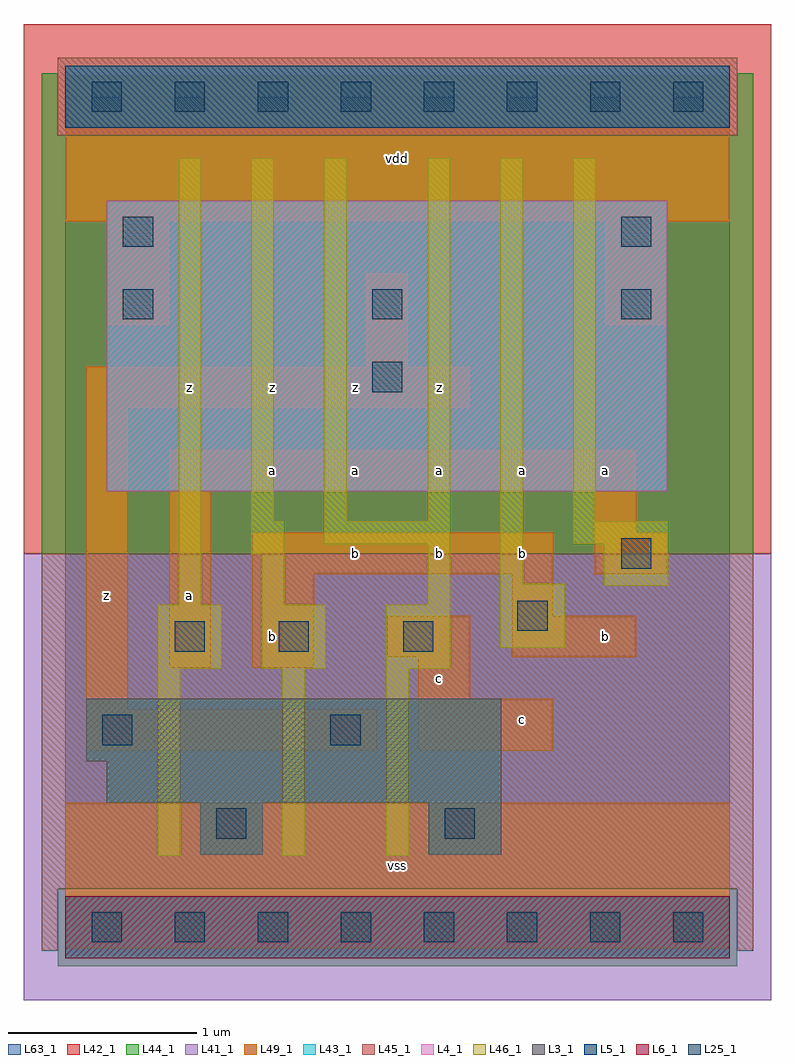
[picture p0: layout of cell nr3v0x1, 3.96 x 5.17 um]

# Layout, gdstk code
import gdstk
lib = gdstk.Library(unit=1e-6, precision=1e-09)
def R(c, l, rs):  # rectangles x0, y0, x1, y1
    for r in rs: c.add(gdstk.rectangle(r[:2], r[2:], *l))
def A(c, l, x, y, w, h, nx, ny, dx, dy):  # array of equal rectangles
    R(c, l, [(x+i*dx, y+j*dy, x+i*dx+w, y+j*dy+h) for i in range(nx) for j in range(ny)])
L3_1 = (3, 1)
L4_1 = (4, 1)
L5_1 = (5, 1)
L6_1 = (6, 1)
L25_1 = (25, 1)
L41_1 = (41, 1)
L42_1 = (42, 1)
L43_1 = (43, 1)
L44_1 = (44, 1)
L45_1 = (45, 1)
L46_1 = (46, 1)
L49_1 = (49, 1)
L63_1 = (63, 1)

nr3v0x1 = lib.new_cell('nr3v0x1')
R(nr3v0x1, L3_1, [(0.715,0.385,1.045,0.66), (1.925,0.385,2.31,0.66), (0.22,0.66,2.31,0.88), (0.11,0.88,2.31,1.21)])
R(nr3v0x1, L4_1, [(0.22,2.31,3.19,3.85)])
R(nr3v0x1, L5_1, [(0,4.235,3.52,4.565)])
R(nr3v0x1, L6_1, [(0,-0.165,3.52,0.165)])
A(nr3v0x1, L25_1, 0.14, -0.08, 0.16, 0.16, 8, 2, 0.44, 4.4)
A(nr3v0x1, L25_1, 0.305, 3.22, 0.16, 0.16, 3, 1, 1.32, 0)
R(nr3v0x1, L25_1, [(0.8,0.47,0.96,0.63), (2.01,0.47,2.17,0.63), (0.195,0.965,0.355,1.125), (1.405,0.965,1.565,1.125), (0.58,1.46,0.74,1.62), (1.13,1.46,1.29,1.62), (1.79,1.46,1.95,1.62), (2.395,1.57,2.555,1.73), (2.945,1.9,3.105,2.06), (1.625,2.835,1.785,2.995), (0.305,3.605,0.465,3.765), (2.945,3.605,3.105,3.765)])
R(nr3v0x1, L41_1, [(-0.22,-0.385,3.74,1.98)])
R(nr3v0x1, L42_1, [(-0.22,1.98,3.74,4.785)])
R(nr3v0x1, L43_1, [(0,-0.165,3.52,0.165), (0.715,0.385,1.045,0.66), (1.925,0.385,2.31,0.66), (0.22,0.66,2.31,0.88), (0.11,0.88,2.31,1.21), (0.22,2.31,3.19,3.85), (0,4.235,3.52,4.565)])
R(nr3v0x1, L44_1, [(-0.04,-0.205,3.56,0.205), (-0.125,1.98,3.645,4.195), (-0.125,4.195,-0.04,4.525), (3.56,4.195,3.645,4.525)])
R(nr3v0x1, L45_1, [(-0.125,-0.125,-0.04,0.205), (3.56,-0.125,3.645,0.205), (-0.125,0.205,3.645,1.98), (-0.04,4.195,3.56,4.605)])
R(nr3v0x1, L46_1, [(0.49,0.38,0.61,1.37), (1.15,0.38,1.27,1.37), (1.7,0.38,1.82,1.37), (0.49,1.37,0.83,1.71), (1.04,1.37,1.38,1.71), (1.7,1.37,2.04,1.71), (2.305,1.48,2.645,1.82), (0.6,1.71,0.72,4.075), (1.04,1.71,1.16,1.975), (1.92,1.71,2.04,2.03), (2.855,1.81,3.195,2.03), (2.305,1.82,2.425,4.075), (0.985,1.975,1.16,2.15), (1.37,2.03,2.04,2.15), (2.69,2.03,3.195,2.15), (0.985,2.15,1.105,4.075), (1.37,2.15,1.49,4.075), (1.92,2.15,2.04,4.075), (2.69,2.15,2.81,4.075)])
R(nr3v0x1, L49_1, [(0,-0.11,3.52,0.66), (0.11,0.935,1.65,1.155), (1.87,0.935,2.585,1.21), (0.11,1.155,0.33,2.75), (1.87,1.21,2.145,1.43), (0.55,1.375,0.77,2.31), (0.99,1.375,1.32,1.87), (1.705,1.43,2.145,1.65), (2.365,1.43,3.025,1.65), (2.365,1.65,2.585,1.87), (0.99,1.87,2.585,2.09), (2.805,1.87,3.19,2.09), (2.805,2.09,3.025,2.31), (0.55,2.31,3.025,2.53), (0.11,2.75,2.145,2.97), (1.595,2.97,1.815,3.465), (0.22,3.19,0.55,3.74), (2.86,3.19,3.19,3.74), (0,3.74,3.52,4.51)])
R(nr3v0x1, L63_1, [(0,0,3.52,4.4)])
nr3v0x1.add(gdstk.Label('z', (0.22,1.76), layer=49, texttype=1))
nr3v0x1.add(gdstk.Label('b', (1.1,1.54), layer=49, texttype=1))
nr3v0x1.add(gdstk.Label('a', (0.66,1.76), layer=49, texttype=1))
nr3v0x1.add(gdstk.Label('a', (1.1,2.42), layer=49, texttype=1))
nr3v0x1.add(gdstk.Label('z', (1.1,2.86), layer=49, texttype=1))
nr3v0x1.add(gdstk.Label('z', (0.66,2.86), layer=49, texttype=1))
nr3v0x1.add(gdstk.Label('vss', (1.76,0.33), layer=49, texttype=1))
nr3v0x1.add(gdstk.Label('c', (1.98,1.32), layer=49, texttype=1))
nr3v0x1.add(gdstk.Label('b', (1.54,1.98), layer=49, texttype=1))
nr3v0x1.add(gdstk.Label('a', (1.54,2.42), layer=49, texttype=1))
nr3v0x1.add(gdstk.Label('b', (1.98,1.98), layer=49, texttype=1))
nr3v0x1.add(gdstk.Label('a', (1.98,2.42), layer=49, texttype=1))
nr3v0x1.add(gdstk.Label('z', (1.98,2.86), layer=49, texttype=1))
nr3v0x1.add(gdstk.Label('z', (1.54,2.86), layer=49, texttype=1))
nr3v0x1.add(gdstk.Label('vdd', (1.76,4.07), layer=49, texttype=1))
nr3v0x1.add(gdstk.Label('c', (2.42,1.1), layer=49, texttype=1))
nr3v0x1.add(gdstk.Label('b', (2.42,1.98), layer=49, texttype=1))
nr3v0x1.add(gdstk.Label('a', (2.42,2.42), layer=49, texttype=1))
nr3v0x1.add(gdstk.Label('b', (2.86,1.54), layer=49, texttype=1))
nr3v0x1.add(gdstk.Label('a', (2.86,2.42), layer=49, texttype=1))

lib.write_gds('nr3v0x1.gds')
